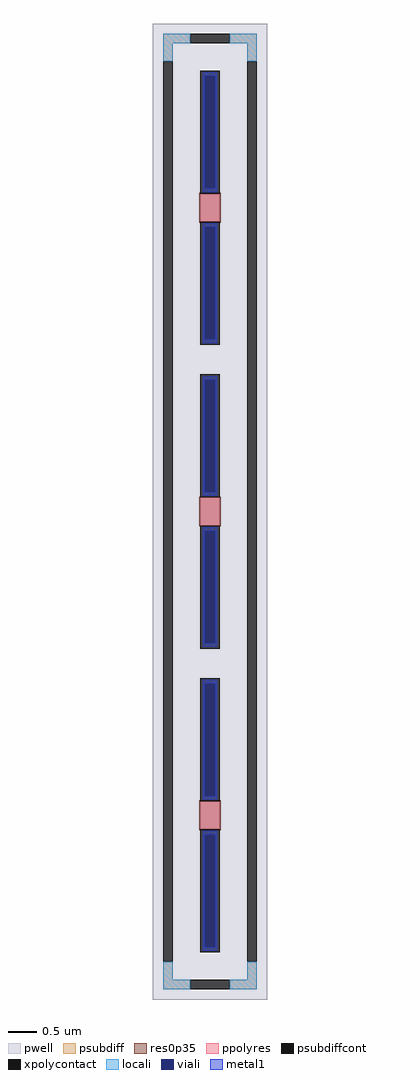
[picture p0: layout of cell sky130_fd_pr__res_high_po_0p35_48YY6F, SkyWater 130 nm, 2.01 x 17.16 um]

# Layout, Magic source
magic
tech sky130B
magscale 1 2
<< pwell >>
rect -201 -1716 201 1716
<< psubdiff >>
rect -165 1646 -69 1680
rect 69 1646 165 1680
rect -165 1584 -131 1646
rect 131 1584 165 1646
rect -165 -1646 -131 -1584
rect 131 -1646 165 -1584
rect -165 -1680 -69 -1646
rect 69 -1680 165 -1646
<< psubdiffcont >>
rect -69 1646 69 1680
rect -165 -1584 -131 1584
rect 131 -1584 165 1584
rect -69 -1680 69 -1646
<< xpolycontact >>
rect -35 1118 35 1550
rect -35 586 35 1018
rect -35 50 35 482
rect -35 -482 35 -50
rect -35 -1018 35 -586
rect -35 -1550 35 -1118
<< ppolyres >>
rect -35 1018 35 1118
rect -35 -50 35 50
rect -35 -1118 35 -1018
<< locali >>
rect -165 1646 -69 1680
rect 69 1646 165 1680
rect -165 1584 -131 1646
rect 131 1584 165 1646
rect -165 -1646 -131 -1584
rect 131 -1646 165 -1584
rect -165 -1680 -69 -1646
rect 69 -1680 165 -1646
<< viali >>
rect -19 1135 19 1532
rect -19 604 19 1001
rect -19 67 19 464
rect -19 -464 19 -67
rect -19 -1001 19 -604
rect -19 -1532 19 -1135
<< metal1 >>
rect -25 1532 25 1544
rect -25 1135 -19 1532
rect 19 1135 25 1532
rect -25 1123 25 1135
rect -25 1001 25 1013
rect -25 604 -19 1001
rect 19 604 25 1001
rect -25 592 25 604
rect -25 464 25 476
rect -25 67 -19 464
rect 19 67 25 464
rect -25 55 25 67
rect -25 -67 25 -55
rect -25 -464 -19 -67
rect 19 -464 25 -67
rect -25 -476 25 -464
rect -25 -604 25 -592
rect -25 -1001 -19 -604
rect 19 -1001 25 -604
rect -25 -1013 25 -1001
rect -25 -1135 25 -1123
rect -25 -1532 -19 -1135
rect 19 -1532 25 -1135
rect -25 -1544 25 -1532
<< res0p35 >>
rect -37 1016 37 1120
rect -37 -52 37 52
rect -37 -1120 37 -1016
<< properties >>
string FIXED_BBOX -148 -1663 148 1663
string gencell sky130_fd_pr__res_high_po_0p35
string library sky130
string parameters w 0.350 l 0.50 m 3 nx 1 wmin 0.350 lmin 0.50 rho 319.8 val 1.57k dummy 0 dw 0.0 term 194.82 sterm 0.0 caplen 0 guard 1 glc 1 grc 1 gtc 1 gbc 1 compatible {sky130_fd_pr__res_high_po_0p35  sky130_fd_pr__res_high_po_0p69 sky130_fd_pr__res_high_po_1p41  sky130_fd_pr__res_high_po_2p85 sky130_fd_pr__res_high_po_5p73} full_metal 1 wmax 0.350 vias 1 n_guard 0 hv_guard 0 viagb 0 viagt 0 viagl 0 viagr 0
<< end >>
